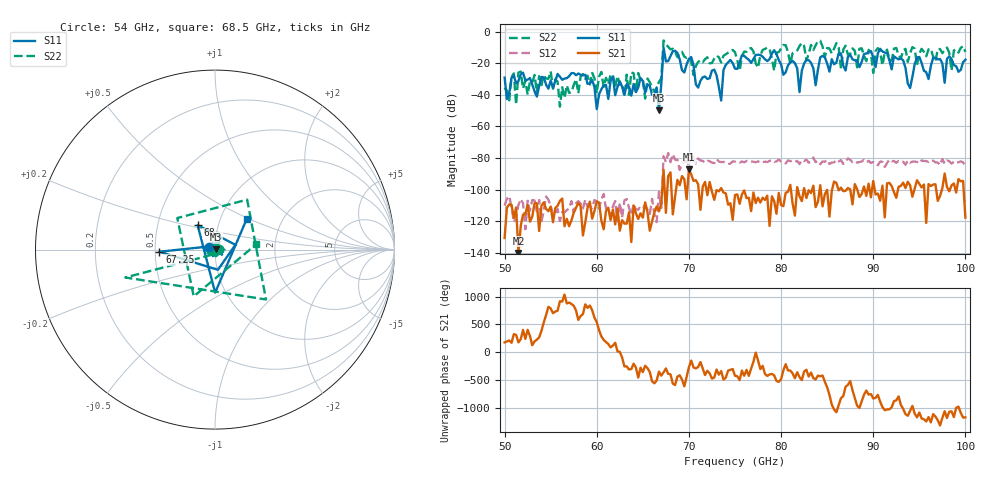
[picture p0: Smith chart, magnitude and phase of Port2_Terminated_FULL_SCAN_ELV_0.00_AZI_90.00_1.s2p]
! 11/25/2026 1:39:28 PM
! C:\ANRITSUVNA\TEMP\TEMP.S2P
! CHANNEL.1
! TR.MEASUREMENT
! RAW.DATA
# HZ S RI R 50.0
! FREQ.HZ  S11RE  S11IM  S21RE  S21IM  S12RE  S12IM  S22RE  S22IM
!; PortSelection: Port_12
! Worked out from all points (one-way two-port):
!   201 points, 50 GHz to 100 GHz, reference 50 ohm
!   highest |S21| = -87.01 dB at 70 GHz (marker M1); lowest = -140.0 dB at 51.5 GHz (marker M2)
!   lowest |S11| = -49.8 dB at 66.75 GHz (marker M3), VSWR 1.01, Z = 50.3 + j0.0729 ohm
!   |S11| at or under -10 dB: start of sweep to end of sweep
!   |S22| runs from -47.5 to -5.6 dB; largest |S21 - S12| = 0.00017
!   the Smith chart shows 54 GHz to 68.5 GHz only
!   S11 on the Smith chart (normalised r, x): 54 GHz: 0.93, +0.03; 67.25 GHz: 0.53, -0.01; 68 GHz: 0.80, +0.22; 68.5 GHz: 1.33, +0.49
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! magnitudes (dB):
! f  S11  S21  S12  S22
! 50 GHz  -29.1  -130.5  -110.0  -35.5
! 51 GHz  -27.9  -117.7  -120.5  -26.5
! 51.25 GHz  -32.7  -111.2  -117.1  -46.2
! 51.5 GHz  -31.3  -140.0  -109.7  -26.0
! 54 GHz  -28.7  -110.1  -119.8  -33.9
! 56 GHz  -28.5  -107.1  -119.7  -47.5
! 58.5 GHz  -27.7  -128.9  -111.9  -26.9
! 60 GHz  -49.1  -107.3  -107.3  -38.9
! 61.75 GHz  -28.4  -112.4  -110.5  -27.6
! 66.75 GHz  -49.8  -113.6  -101.2  -31.9
! 67.25 GHz  -10.2  -87.4  -78.8  -5.6
! 68 GHz  -15.5  -89.0  -82.6  -11.2
! 68.5 GHz  -12.1  -104.1  -81.0  -12.7
! 70 GHz  -17.4  -87.0  -84.5  -15.7
! 73.5 GHz  -43.6  -98.9  -82.6  -19.6
! 73.75 GHz  -24.3  -101.7  -82.4  -15.3
! 75 GHz  -23.4  -103.3  -82.2  -13.1
! 83.5 GHz  -23.3  -97.4  -79.7  -11.7
! 91.75 GHz  -18.1  -95.6  -80.9  -17.5
! 94 GHz  -35.7  -97.2  -82.8  -13.7
! 94.75 GHz  -16.5  -94.0  -82.4  -21.1
! 100 GHz  -17.8  -117.6  -85.2  -12.9
